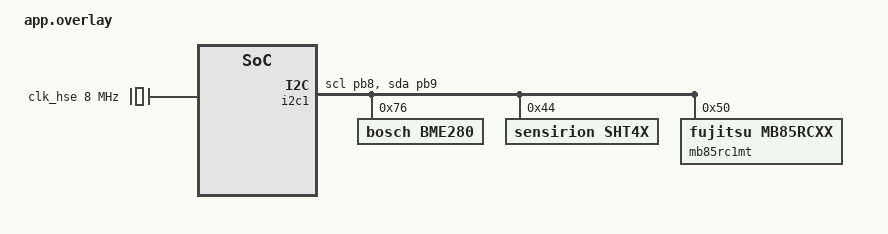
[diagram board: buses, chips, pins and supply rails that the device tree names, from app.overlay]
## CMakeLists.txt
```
# SPDX-License-Identifier: Apache-2.0

cmake_minimum_required(VERSION 3.13.1)
find_package(Zephyr REQUIRED HINTS $ENV{ZEPHYR_BASE})

project(app LANGUAGES CXX VERSION 1.0.0)

target_include_directories(app PRIVATE ${CMAKE_BINARY_DIR}/app/include src)

target_sources(app PRIVATE src/main.cpp)
target_sources(app PRIVATE src/fram.cpp)
target_sources(app PRIVATE src/sensors.cpp)
target_sources(app PRIVATE src/rtc.cpp)
target_sources(app PRIVATE src/user_config.cpp)
```

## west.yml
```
# Copyright (c) 2023 Antmicro <www.antmicro.com>
#
# SPDX-License-Identifier: Apache-2.0

manifest:
  remotes:
    - name: zephyrproject-rtos
      url-base: https://github.com/zephyrproject-rtos

  projects:
    - name: zephyr
      remote: zephyrproject-rtos
      revision: main
      import:
        name-allowlist:
          - cmsis
          - hal_stm32
```

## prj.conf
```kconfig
CONFIG_SENSOR=y
CONFIG_EEPROM=y
CONFIG_EEPROM_MB85RCXX=y

CONFIG_LOG=y
CONFIG_LOG_BACKEND_UART=y

CONFIG_CONSOLE=y
CONFIG_CONSOLE_SUBSYS=y
CONFIG_CONSOLE_GETLINE=y
CONFIG_SHELL=n

CONFIG_RING_BUFFER=y

CONFIG_RTC=y
CONFIG_RTC_STM32=y
CONFIG_RTC_LOG_LEVEL_WRN=y #remove <inf> log output after setting time

CONFIG_CPP=y
CONFIG_STD_CPP20=y
CONFIG_GLIBCXX_LIBCPP=y
CONFIG_NEWLIB_LIBC=y

CONFIG_I2C=y
```

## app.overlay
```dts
/*
 * Copyright (c) 2023 Antmicro Ltd.
 *
 * SPDX-License-Identifier: Apache-2.0
 */

&clk_hse {
	clock-frequency = <DT_FREQ_M(8)>;
	status = "okay";
};

&pll {
	div-m = <2>;
	mul-n = <85>;
	div-p = <7>;
	div-q = <2>;
	div-r = <2>;
	clocks = <&clk_hse>;
	status = "okay";
};

&rtc {
	clocks = < &rcc 0x58 0x400 >, < &rcc 0x4 0x16890 >;
};

&clk_lse {
	status = "okay";
};

&clk_lsi {
	status = "disabled";
};

&i2c1 {
	pinctrl-0 = <&i2c1_scl_pb8 &i2c1_sda_pb9>;
	pinctrl-names = "default";
	status = "okay";

	bme280@76 {
		compatible = "bosch,bme280";
		reg = <0x76>;
	};
	sht4x@44 {
		compatible = "sensirion,sht4x";
		repeatability = <2>;
		reg = <0x44>;
	};
	mb85rc1mt@50 {
		compatible = "fujitsu,mb85rcxx";
		size = <131072>;
		address-width = <16>;
		reg = <0x50>;
	};
};

&usart1 {
	status = "disabled";
};
```

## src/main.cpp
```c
#include "fram.h"
#include "fram_buffer.h"
#include "rtc.h"
#include "sensors.h"
#include "user_config.h"

#include <zephyr/console/console.h>
#include <zephyr/devicetree.h>
#include <zephyr/drivers/gpio.h>
#include <zephyr/sys/printk.h>

#include <algorithm>
#include <cctype>
#include <cstdlib>
#include <string_view>

using namespace std::literals;

constexpr auto logger_stack_size = 4096;
constexpr auto io_stack_size = 4096;

#define LED0_NODE DT_ALIAS(led0)
const gpio_dt_spec led = GPIO_DT_SPEC_GET(LED0_NODE, gpios);

constexpr auto logger_priority = 2;
constexpr auto io_priority = 1;

static K_THREAD_STACK_DEFINE(logger_stack_area, logger_stack_size);
static K_THREAD_STACK_DEFINE(io_stack_area, io_stack_size);

static k_thread logger_thread_data;
static k_thread io_thread_data;

constexpr std::string_view default_name = "antenvsens";
constexpr uint32_t default_period = 1;
static user_config* config;

static k_mutex main_buffer_mtx;
static k_mutex secondary_buffer_mtx;
static k_sem logger_sleep_smph;

// Printing data from main buffer, waiting for acknowledge before removal and removing data from main buffer is done
// concurrently to logging data in another thread. To prevent a situation where the logger thread overwrites the entry
// that was going to be read (and break chronology as a result) because buffer was full (and buffer's head catched up
// with read position in "get data"), second smaller buffer is used during "get data" execution. After "get data"
// finishes data from secondary_buffer is moved to main_buffer and subsequent entries from logger thread are pushed into
// main_buffer
using fram_buffer_t = fram_buffer<sensors::data_point>;
static fram_buffer_t* main_f_buffer = nullptr;
static fram_buffer_t* secondary_f_buffer = nullptr;

void logger(void* arg1, void* arg2, void* arg3) {
    ARG_UNUSED(arg1);
    ARG_UNUSED(arg2);
    ARG_UNUSED(arg3);

    while (1) {
        gpio_pin_set_dt(&led, 1);

        k_mutex_lock(&secondary_buffer_mtx, K_FOREVER);

        const sensors::data_point p = sensors::get_data();
        if (k_mutex_lock(&main_buffer_mtx, K_NO_WAIT) == 0) {
            secondary_f_buffer->pop_all([&](const sensors::data_point& p) { main_f_buffer->push(p); });
            main_f_buffer->push(p);
            k_mutex_unlock(&main_buffer_mtx);
        } else {
            // use secondary buffer when data in main buffer is in read-acknowledge-remove phase
            secondary_f_buffer->push(p);
        }

        k_mutex_unlock(&secondary_buffer_mtx);

        gpio_pin_set_dt(&led, 0);
        k_sem_take(&logger_sleep_smph, K_SECONDS(config->get_period()));
    }
}

struct command {
    using handler_func = void(std::string_view params);

    std::string_view name;
    std::string_view description;
    handler_func* handler = nullptr;
};

static void print_help();

static void factory_reset_dialog() {
    printk("set new name (default = \"%s\"): ", default_name.data());
    std::string_view name = console_getline();
    if (name.empty()) {
        config->set_name(default_name);
    } else {
        config->set_name(name);
    }
    printk("set new period (default = %d): ", default_period);
    std::string_view period = console_getline();
    if (period.empty()) {
        config->set_period(default_period);
    } else {
        config->set_period(atoi(period.data()));
    }
}

static const command commands[] = {
    {.name = "get data"sv,
     .description = "- prints stored data"sv,
     .handler =
         [](std::string_view params) {
             k_mutex_lock(&main_buffer_mtx, K_FOREVER);
             time_t last_timestamp = 0;
             main_f_buffer->peek_all([&](const sensors::data_point& p) {
                 p.print();
                 last_timestamp = p.timestamp;
             });
             k_mutex_unlock(&main_buffer_mtx);
             printk("remove printed data from the device? (y/N): ");
             std::string_view s = console_getline();
             if (s == "y"sv) {
                 k_mutex_lock(&main_buffer_mtx, K_FOREVER);
                 main_f_buffer->clear_peeked();
                 k_mutex_unlock(&main_buffer_mtx);
             }
         }},
    {.name = "clear data"sv,
     .description = "- clears stored data"sv,
     .handler =
         [](std::string_view params) {
             k_mutex_lock(&main_buffer_mtx, K_FOREVER);
             k_mutex_lock(&secondary_buffer_mtx, K_FOREVER);
             main_f_buffer->clear();
             secondary_f_buffer->clear();
             k_mutex_unlock(&main_buffer_mtx);
             k_mutex_unlock(&secondary_buffer_mtx);
             printk("data cleared\n");
         }},
    {.name = "set time"sv,
     .description = "<time> - sets time"sv,
     .handler =
         [](std::string_view params) {
             if (rtc::set_current_time(params.data()) == -EINVAL) {
                 printk("invalid time\n");
             } else {
                 printk("time set\n");
             }
         }},
    {.name = "get time"sv,
     .description = "- prints time"sv,
     .handler =
         [](std::string_view params) {
             rtc::print_time(rtc::get_current_time());
             printk("\n");
         }},
    {.name = "set period"sv,
     .description = "<period> - sets period"sv,
     .handler =
         [](std::string_view params) {
             config->set_period(atoi(params.data()));
             k_sem_give(&logger_sleep_smph);
             printk("period set\n");
         }},
    {.name = "get period"sv,
     .description = "- prints period"sv,
     .handler = [](std::string_view params) { printk("%u\n", config->get_period()); }},
    {.name = "set name"sv,
     .description = "<name> - sets name"sv,
     .handler =
         [](std::string_view params) {
             config->set_name(params);
             printk("name set\n");
         }},
    {.name = "get name"sv,
     .description = "- prints name"sv,
     .handler = [](std::string_view params) { printk("%s\n", config->get_name().data()); }},
    {.name = "get status"sv,
     .description = "- prints device status"sv,
     .handler =
         [](std::string_view params) {
             printk("name: %s\n"
                    "period: %d\n",
                    config->get_name().data(),
                    config->get_period());
             printk("time: ");
             rtc::print_time(rtc::get_current_time());

             sensors::data_point p = sensors::get_data();
             auto print_sensor_value = [&](std::string_view name, sensor_value val) {
                 printk("  %s: ", name.data());
                 p.print_value(val);
                 printk("\n");
             };
             printk("\nsht45:\n");
             print_sensor_value("temperature"sv, p.sht_temperature);
             print_sensor_value("humidity"sv, p.sht_humidity);
             printk("bme280:\n");
             print_sensor_value("temperature"sv, p.bme_temperature);
             print_sensor_value("humidity"sv, p.bme_humidity);
             print_sensor_value("pressure"sv, p.bme_pressure);
         }},
    {.name = "factory reset"sv,
     .description = "- performs factory reset"sv,
     .handler =
         [](std::string_view params) {
             k_mutex_lock(&main_buffer_mtx, K_FOREVER);
             k_mutex_lock(&secondary_buffer_mtx, K_FOREVER);
             main_f_buffer->clear();
             secondary_f_buffer->clear();
             fram::clear();
             factory_reset_dialog();
             k_sem_give(&logger_sleep_smph);
             k_mutex_unlock(&main_buffer_mtx);
             k_mutex_unlock(&secondary_buffer_mtx);
             printk("reset complete\n");
         }},
    {.name = "help"sv, .description = "- prints help"sv, .handler = [](std::string_view params) { print_help(); }}};

static void print_help() {
    printk("available commands:\n");
    for (const auto& cmd : commands) {
        if (!cmd.name.empty()) {
            printk("%s", cmd.name.data());
            if (!cmd.description.empty()) {
                printk(" %s\n", cmd.description.data());
            } else {
                printk("\n");
            }
        }
    }
}

static void handle_command(std::string_view s) {
    for (const auto& cmd : commands) {
        if (s.starts_with(cmd.name)) {
            if (s.size() == cmd.name.size()) {
                if (cmd.handler) {
                    cmd.handler(""sv);
                }
                return;
            } else if (s[cmd.name.size()] == ' ') {
                s.remove_prefix(cmd.name.size() + 1);
                if (cmd.handler) {
                    cmd.handler(s);
                }
                return;
            }
        }
    }
    for (auto ch : s) {
        if (!std::isspace(ch)) {
            printk("invalid command\n");
            return;
        }
    }
}

void io(void* arg1, void* arg2, void* arg3) {
    ARG_UNUSED(arg1);
    ARG_UNUSED(arg2);
    ARG_UNUSED(arg3);

    while (1) {
        handle_command(console_getline());
    }
}

int main(void) {
    gpio_pin_configure_dt(&led, GPIO_OUTPUT_ACTIVE);

    console_getline_init();
    sensors::init();
    fram::init();
    rtc::init();

    static fram_buffer_t f_main_buf{fram::memory_map::env_main_buffer.begin(), fram::memory_map::env_main_buffer.end()};
    main_f_buffer = &f_main_buf;

    static fram_buffer_t f_secondary_buf{fram::memory_map::env_secondary_buffer.begin(),
                                         fram::memory_map::env_secondary_buffer.end()};
    secondary_f_buffer = &f_secondary_buf;

    static user_config conf{fram::memory_map::device_name.begin(), fram::memory_map::period.begin()};
    config = &conf;

    k_mutex_init(&main_buffer_mtx);
    k_mutex_init(&secondary_buffer_mtx);
    k_sem_init(&logger_sleep_smph, 0, 1);

    k_thread_create(&logger_thread_data,
                    logger_stack_area,
                    K_THREAD_STACK_SIZEOF(logger_stack_area),
                    logger,
                    nullptr,
                    nullptr,
                    nullptr,
                    logger_priority,
                    0,
                    K_NO_WAIT);

    k_thread_create(&io_thread_data,
                    io_stack_area,
                    K_THREAD_STACK_SIZEOF(io_stack_area),
                    io,
                    nullptr,
                    nullptr,
                    nullptr,
                    io_priority,
                    0,
                    K_NO_WAIT);
}
```

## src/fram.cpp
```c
#include "fram.h"

#include <zephyr/drivers/eeprom.h>
#include <zephyr/kernel.h>
#include <zephyr/sys/printk.h>

namespace fram {
const device* const fram = DEVICE_DT_GET_ONE(fujitsu_mb85rcxx);

void init() {
    if (!device_is_ready(fram)) {
        printk("warning: fram: not ready\n");
        return;
    }
}

void clear() {
    const uint8_t buf[64]{};
    for (addr_t addr = 0x0; addr < fram_size; addr += sizeof(buf)) {
        write_raw(addr, reinterpret_cast<const void*>(buf), sizeof(buf));
    }
}

void write_raw(addr_t addr, const void* data, size_t size) {
    if (int rc = eeprom_write(fram, addr, data, size); rc < 0) {
        while (1) {
            printk("Error: Couldn't write to eeprom, err: %d\n", rc);
            k_sleep(K_MSEC(1000));
        }
    }
}

void read_raw(addr_t addr, void* data, size_t size) {
    if (int rc = eeprom_read(fram, addr, data, size); rc < 0) {
        while (1) {
            printk("Error: Couldn't read eeprom, err: %d\n", rc);
            k_sleep(K_MSEC(1000));
        }
    }
}
}
```

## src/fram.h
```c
#ifndef ANTENVSENS_FRAM_H
#define ANTENVSENS_FRAM_H
#include <concepts>
#include <cstddef>
#include <cstdint>

namespace fram {
using addr_t = uint32_t;

constexpr addr_t fram_size = 0x20000;

class memory_block {
    addr_t m_begin;
    addr_t m_size;

  public:
    constexpr memory_block(addr_t begin, addr_t size) : m_begin{begin}, m_size{size} {}
    constexpr addr_t begin() const { return m_begin; }
    constexpr addr_t end() const { return m_begin + m_size; }
    constexpr addr_t size() const { return m_size; }
};

namespace memory_map {
constexpr memory_block device_name = {0, 256};
constexpr memory_block period = {device_name.end(), 4};
constexpr memory_block env_secondary_buffer = {period.end(), 5100};
constexpr memory_block env_main_buffer = {env_secondary_buffer.end(), fram_size - env_secondary_buffer.end()};
}

void init();
void clear();
void write_raw(addr_t addr, const void* data, size_t size);
void read_raw(addr_t addr, void* data, size_t size);

template <typename T>
void read(addr_t addr, T& t)
    requires std::is_trivially_copyable_v<T>
{
    read_raw(addr, reinterpret_cast<void*>(&t), sizeof(t));
}

template <typename T>
T read(addr_t addr)
    requires std::is_trivially_copyable_v<T>
{
    T t;
    read(addr, t);
    return t;
}

template <typename T>
void write(addr_t addr, const T& t)
    requires std::is_trivially_copyable_v<T>
{
    write_raw(addr, reinterpret_cast<const void*>(&t), sizeof(t));
}
}

#endif
```

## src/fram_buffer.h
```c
#ifndef ANTENVSENS_FRAM_BUFFER_H
#define ANTENVSENS_FRAM_BUFFER_H
#include "fram.h"

#include <zephyr/sys/crc.h>
#include <zephyr/sys/printk.h>

#include <concepts>
#include <cstdint>
#include <optional>
#include <type_traits>

/*
fram_buffer is a circular buffer stored in fram.
Size of each entry in buffer is constant and equal to sizeof(T) + size of
metadata (header and checksum). Each entry starts with header used to find ends
of data block after startup (this is more robust than keeping positons of ends
of data block separately in fram as after power loss we will lose at most one
entry), proceeded by user data and ends with crc32 checksum of user data.
*/
template <typename T>
    requires std::is_trivially_copyable_v<T> // buffer is stored in nonreferenceable address space
class fram_buffer {
    using addr_t = fram::addr_t;
    using crc_t = uint32_t;

    // range of fram memory available to buffer
    addr_t m_buf_begin;
    addr_t m_buf_end;
    // range of user data stored in buffer
    addr_t m_data_begin;
    addr_t m_data_end;

    struct entry_header {
        constexpr static auto valid_signature = 0x75;
        uint8_t signature : 7 = valid_signature;
        bool peeked : 1 = false;
        bool is_valid() const { return signature == valid_signature; }
    };
    constexpr static auto entry_size = sizeof(entry_header) + sizeof(T) + sizeof(crc_t);

    using it_func = addr_t (fram_buffer::*)(addr_t) const;
    // finds first entry for which predicate @pred returns true, uses @advance to
    // iterate through buffer starting from
    // @start_entry
    addr_t find_entry(const addr_t start_entry, it_func advance, std::invocable<entry_header> auto&& pred) {
        const addr_t first_entry = (this->*advance)(start_entry);
        addr_t next_entry;
        for (addr_t entry = first_entry; entry != start_entry; entry = next_entry) {
            if (pred(fram::read<entry_header>(entry))) {
                return entry;
            }
            next_entry = (this->*advance)(entry);
        }
        return m_buf_begin;
    }

    // returns address of next entry, assumes that @entry is valid entry address
    addr_t next_entry(addr_t entry) const {
        if (entry == m_buf_begin + (capacity() - 1) * entry_size) {
            return m_buf_begin;
        } else {
            return entry + entry_size;
        }
    }

    // returns address of previous entry, assumes that @entry is valid entry
    // address
    addr_t prev_entry(addr_t entry) const {
        if (entry == m_buf_begin) {
            return m_buf_begin + (capacity() - 1) * entry_size;
        } else {
            return entry - entry_size;
        }
    }

    std::optional<T> read_entry(addr_t entry) {
        const entry_header header = fram::read<entry_header>(entry);
        const T elem = fram::read<T>(entry + sizeof(entry_header));
        const crc_t read_crc = fram::read<crc_t>(entry + entry_size - sizeof(crc_t));
        const crc_t calc_crc = entry_crc(header, elem);
        if (read_crc == calc_crc) {
            return elem;
        }
        return {};
    }

    crc_t entry_crc(entry_header header, const T& elem) {
        crc_t crc = crc32_ieee(reinterpret_cast<const uint8_t*>(&header), sizeof(header));
        crc = crc32_ieee_update(crc, reinterpret_cast<const uint8_t*>(&elem), sizeof(elem));
        return crc;
    }

    void invalidate_entry(addr_t entry) { fram::write(entry, entry_header{.signature = 0}); }

  public:
    fram_buffer(addr_t begin, addr_t end) : m_buf_begin{begin}, m_buf_end{end} {
        // restores m_data_begin and m_data_end using data from fram
        if (fram::read<entry_header>(begin).is_valid()) {
            m_data_end =
                find_entry(m_buf_begin, &fram_buffer::next_entry, [](entry_header h) { return !h.is_valid(); });
            m_data_begin = next_entry(
                find_entry(m_buf_begin, &fram_buffer::prev_entry, [](entry_header h) { return !h.is_valid(); }));
        } else {
            m_data_end = next_entry(
                find_entry(m_buf_begin, &fram_buffer::prev_entry, [](entry_header h) { return h.is_valid(); }));
            m_data_begin =
                find_entry(m_buf_begin, &fram_buffer::next_entry, [](entry_header h) { return h.is_valid(); });
        }
    }

    size_t capacity() const { return (m_buf_end - m_buf_begin) / entry_size; }

    // adds element to the buffer
    void push(const T& elem) {
        const addr_t next = next_entry(m_data_end);
        const entry_header next_header = fram::read<entry_header>(next);
        if (next_header.is_valid()) {
            // front of buffer reached back of buffer, ends of buffer have to be
            // separated by an empty entry to properly restore backup from fram
            // after restart
            invalidate_entry(next);
            m_data_begin = next_entry(next);
        }

        const entry_header header;
        const crc_t crc = entry_crc(header, elem);
        fram::write(m_data_end, header);
        fram::write(m_data_end + sizeof(entry_header), elem);
        fram::write(m_data_end + entry_size - sizeof(crc), crc);

        m_data_end = next;
    }

    // invokes func for every valid element in buffer in chronological order,
    // returns amount of entries with checksum mismatch
    uint16_t peek_all(std::invocable<T&> auto&& func) {
        uint16_t invalid_entries = 0;
        for (addr_t entry = m_data_begin; entry != m_data_end; entry = next_entry(entry)) {
            const std::optional<T> elem = read_entry(entry);
            if (elem) {
                func(*elem);
                const entry_header header{.peeked = true};
                const crc_t crc = entry_crc(header, *elem);
                fram::write(entry, header);
                fram::write(entry + entry_size - sizeof(crc), crc);
            } else {
                invalid_entries++;
            }
        }

        return invalid_entries;
    }

    // clears entries visited during peek_all() invocation
    void clear_peeked() {
        for (addr_t entry = m_data_begin; entry != m_data_end; entry = next_entry(entry)) {
            const entry_header header = fram::read<entry_header>(entry);
            if (header.is_valid()) {
                if (header.peeked) {
                    invalidate_entry(entry);
                } else {
                    return;
                }
            }
            m_data_begin = next_entry(entry);
        }
    }

    // invokes func for every valid element in buffer in chronological order and
    // removes elements from buffer, returns amount of entries with checksum
    // mismatch
    uint16_t pop_all(std::invocable<T&> auto&& func) {
        uint16_t invalid_entries = 0;
        for (addr_t entry = m_data_begin; entry != m_data_end; entry = next_entry(entry)) {
            const std::optional<T> elem = read_entry(entry);
            if (elem) {
                func(*elem);
            } else {
                invalid_entries++;
            }
            invalidate_entry(entry);
        }

        m_data_end = m_buf_begin;
        m_data_begin = m_buf_begin;

        return invalid_entries;
    }

    void clear() {
        addr_t entry = m_buf_begin;
        do {
            invalidate_entry(entry);
            entry = next_entry(entry);
        } while (entry != m_buf_begin);

        m_data_begin = m_buf_begin;
        m_data_end = m_buf_begin;
    }

    // default ones create shallow copies
    fram_buffer(const fram_buffer&) = delete;
    fram_buffer& operator=(const fram_buffer&) = delete;
};

#endif
```

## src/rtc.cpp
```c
#include "rtc.h"

#include <stm32_ll_pwr.h>
#include <stm32_ll_rcc.h>
#include <stm32_ll_rtc.h>
#include <zephyr/arch/common/sys_bitops.h>
#include <zephyr/drivers/rtc.h>
#include <zephyr/init.h>
#include <zephyr/sys/printk.h>
#include <zephyr/sys/timeutil.h>

#include <cstdio>

namespace rtc {
const device* const rtc = DEVICE_DT_GET_ONE(st_stm32_rtc);

// reset rtc domain to allow modification of RTCSEL by rtc driver and enable LSE
static int allow_rtc_lse_selection() {
    // will be triggered only at first boot (if RTCSEL wasn't already LSE) and at boot after removing the battery
    if (LL_RCC_GetRTCClockSource() != LL_RCC_RTC_CLKSOURCE_LSE) {
        LL_PWR_EnableBkUpAccess();
        LL_RCC_ForceBackupDomainReset();
        LL_RCC_ReleaseBackupDomainReset();
        LL_RCC_LSE_Enable();
        while (!LL_RCC_LSE_IsReady()) {
            // wait until LSE is ready
        }
    }

    return 0;
}

SYS_INIT(allow_rtc_lse_selection, POST_KERNEL, 49); // invoke before rtc driver initialization (POST_KERNEL 50)

void init() {
    if (!device_is_ready(rtc)) {
        printk("warning: rtc: not ready\n");
        return;
    }
}

time_t get_current_time() {
    rtc_time dt{};
    rtc_get_time(rtc, &dt);

    return timeutil_timegm64(rtc_time_to_tm(&dt));
}

void print_time(time_t timestamp) {
    tm* tm = gmtime(&timestamp);

    printk("%04d-%02d-%02dT%02d:%02d:%02d",
           tm->tm_year + 1900,
           tm->tm_mon + 1,
           tm->tm_mday,
           tm->tm_hour,
           tm->tm_min,
           tm->tm_sec);
}

int set_current_time(const char* timestamp) {
    rtc_time dt{};

    sscanf(timestamp,
           "%04d-%02d-%02dT%02d:%02d:%02d",
           &dt.tm_year,
           &dt.tm_mon,
           &dt.tm_mday,
           &dt.tm_hour,
           &dt.tm_min,
           &dt.tm_sec);

    dt.tm_year -= 1900;
    dt.tm_mon -= 1;

    return rtc_set_time(rtc, &dt);
}
}
```

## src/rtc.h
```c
#ifndef ANTENVSENS_RTC_H
#define ANTENVSENS_RTC_H
#include <ctime>

namespace rtc {
void init();
int set_current_time(const char* timestamp);
time_t get_current_time();
void print_time(time_t timestamp);
}

#endif
```

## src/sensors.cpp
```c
#include "sensors.h"
#include "rtc.h"

#include <zephyr/sys/printk.h>

namespace sensors {
const device* const bme = DEVICE_DT_GET_ONE(bosch_bme280);
const device* const sht = DEVICE_DT_GET_ONE(sensirion_sht4x);

void init() {
    if (!device_is_ready(bme)) {
        printk("warning: bme280: not ready\n");
        return;
    }

    if (!device_is_ready(sht)) {
        printk("warning: sht43: not ready\n");
        return;
    }
}

data_point get_data() {
    data_point p;

    sensor_sample_fetch(bme);
    sensor_sample_fetch(sht);

    sensor_channel_get(bme, SENSOR_CHAN_AMBIENT_TEMP, &p.bme_temperature);
    sensor_channel_get(bme, SENSOR_CHAN_PRESS, &p.bme_pressure);
    sensor_channel_get(bme, SENSOR_CHAN_HUMIDITY, &p.bme_humidity);

    sensor_channel_get(sht, SENSOR_CHAN_AMBIENT_TEMP, &p.sht_temperature);
    sensor_channel_get(sht, SENSOR_CHAN_HUMIDITY, &p.sht_humidity);

    p.timestamp = rtc::get_current_time();

    return p;
}

void data_point::print_value(const sensor_value& sv) const {
    // decimal part can be negative so simply printing val1 + . + val2 wouldn't work in cases like val1=12 and val2=-0.5
    // where final value is 11.5
    constexpr auto factor = 1000000;
    int64_t val = sv.val1 * factor + sv.val2;
    int32_t integer_part = val / factor;
    int32_t decimal_part = abs(val % factor);

    printk("%d.%06d", integer_part, decimal_part);
}

void data_point::print() const {
    rtc::print_time(timestamp);
    auto print_comma_prepend_value = [&](sensor_value val) {
        printk(",");
        print_value(val);
    };
    print_comma_prepend_value(bme_temperature);
    print_comma_prepend_value(bme_pressure);
    print_comma_prepend_value(bme_humidity);
    print_comma_prepend_value(sht_temperature);
    print_comma_prepend_value(sht_humidity);
    printk("\n");

    k_sleep(K_MSEC(10));
}
}
```

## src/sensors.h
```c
#ifndef ANTENVSENS_SENSORS_H
#define ANTENVSENS_SENSORS_H
#include <zephyr/drivers/sensor.h>

#include <ctime>

namespace sensors {

struct data_point {
    time_t timestamp{};
    sensor_value bme_temperature{};
    sensor_value bme_pressure{};
    sensor_value bme_humidity{};
    sensor_value sht_temperature{};
    sensor_value sht_humidity{};

    void print() const;
    void print_value(const sensor_value& sv) const;
};

void init();
data_point get_data();
}

#endif
```

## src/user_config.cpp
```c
#include "user_config.h"

#include <algorithm>
#include <cstring>

user_config::user_config(fram::addr_t name_addr, fram::addr_t period_addr)
    : m_name_addr{name_addr}, m_period_addr(period_addr) {
    fram::read(m_name_addr, m_name);
    m_name[sizeof(m_name) - 1] = '\0';
    m_name_len = strlen(m_name);
    fram::read(m_period_addr, m_period);
    m_period = std::max(m_period, min_period);
}

void user_config::set_period(uint32_t period) {
    m_period = std::max(period, min_period);
    fram::write(m_period_addr, period);
}

uint32_t user_config::get_period() const { return m_period; }

void user_config::set_name(std::string_view name) {
    m_name_len = std::min(name.size() + 1, sizeof(m_name)); // +1 to include \0
    memcpy(m_name, name.data(), m_name_len);
    m_name[sizeof(m_name) - 1] = '\0';
    fram::write(m_name_addr, m_name);
}

std::string_view user_config::get_name() const { return std::string_view{m_name, m_name_len - 1}; }
```

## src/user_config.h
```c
#ifndef ANTENVSENS_USER_CONFIG_H
#define ANTENVSENS_USER_CONFIG_H
#include "fram.h"

#include <string_view>

class user_config {
    constexpr static uint32_t min_period = 1;

    fram::addr_t m_name_addr;
    fram::addr_t m_period_addr;

    char m_name[fram::memory_map::device_name.size()];
    size_t m_name_len;
    uint32_t m_period;

  public:
    user_config(fram::addr_t name_addr, fram::addr_t period_addr);

    void set_period(uint32_t period);
    uint32_t get_period() const;
    void set_name(std::string_view name);
    std::string_view get_name() const;
};

#endif
```
